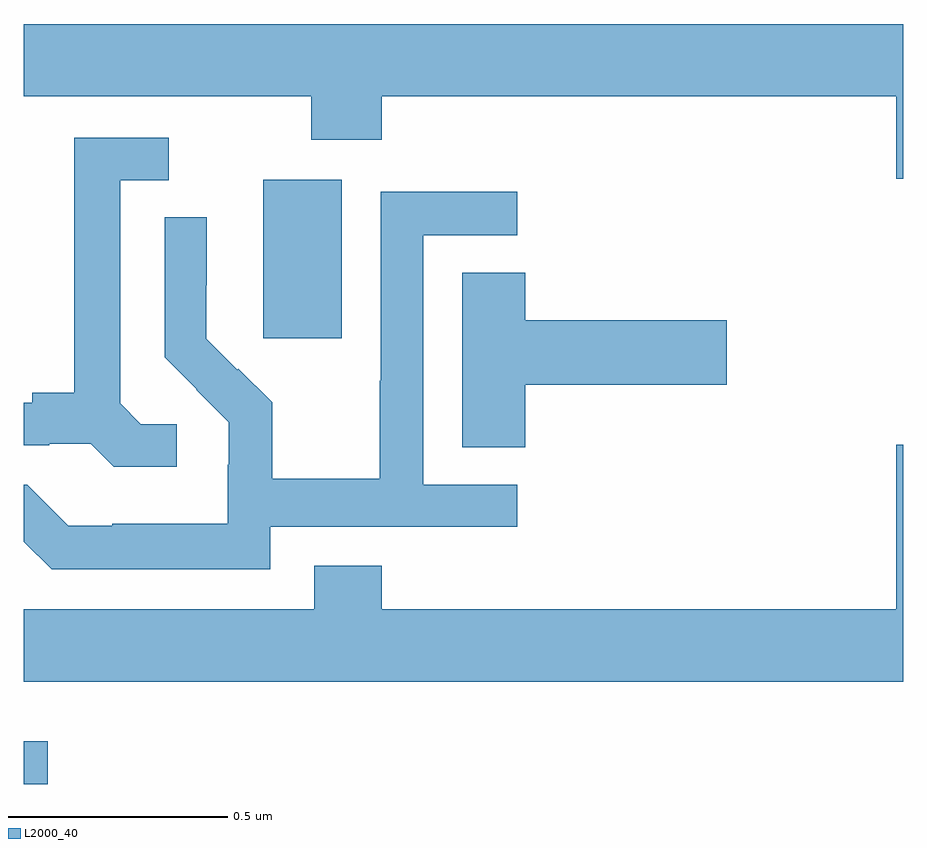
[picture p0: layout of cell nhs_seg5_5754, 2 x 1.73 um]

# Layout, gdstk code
import gdstk
lib = gdstk.Library(unit=1e-6, precision=1e-09)
def R(c, l, rs):  # rectangles x0, y0, x1, y1
    for r in rs: c.add(gdstk.rectangle(r[:2], r[2:], *l))
def P(c, l, *ps):  # polygons
    for p in ps: c.add(gdstk.Polygon(p, *l))
L2000_40 = (2000, 40)

nhs_seg5_5754 = lib.new_cell('nhs_seg5_5754')
R(nhs_seg5_5754, L2000_40, [(187,865.851,187.054,865.948), (187.544,866.865,187.723,867.226)])
P(nhs_seg5_5754, L2000_40, [(189,867.58),(187,867.58),(187,867.416),(187.654,867.416),(187.654,867.317),(187.814,867.317),(187.814,867.416),(188.984,867.416),(188.984,867.228),(189,867.228)],
  [(187.348,866.67),(187.266,866.67),(187.219,866.717),(187.219,867.225),(187.33,867.225),(187.33,867.321),(187.115,867.321),(187.115,866.741),(187.019,866.741),(187.019,866.718),(187,866.718),(187,866.622),(187.058,866.622),(187.058,866.625),(187.152,866.625),(187.204,866.573),(187.348,866.573)],
  [(187.56,866.436),(188.122,866.436),(188.122,866.532),(187.908,866.532),(187.908,867.099),(188.122,867.099),(188.122,867.198),(187.812,867.198),(187.812,866.768),(187.81,866.768),(187.81,866.545),(187.565,866.545),(187.565,866.719),(187.488,866.796),(187.485,866.793),(187.415,866.864),(187.415,866.986),(187.416,866.986),(187.416,867.14),(187.32,867.14),(187.32,866.822),(187.393,866.749),(187.392,866.748),(187.466,866.674),(187.466,866.577),(187.464,866.577),(187.464,866.443),(187.201,866.443),(187.201,866.439),(187.101,866.439),(187.008,866.532),(187,866.532),(187,866.402),(187.063,866.339),(187.56,866.339)],
  [(188.141,866.759),(188.599,866.759),(188.599,866.906),(188.141,866.906),(188.141,867.014),(187.997,867.014),(187.997,866.617),(188.141,866.617)],
  [(189,866.623),(188.984,866.623),(188.984,866.248),(187.814,866.248),(187.814,866.347),(187.661,866.347),(187.661,866.248),(187,866.248),(187,866.084),(189,866.084)])

lib.write_gds('nhs_seg5_5754.gds')
